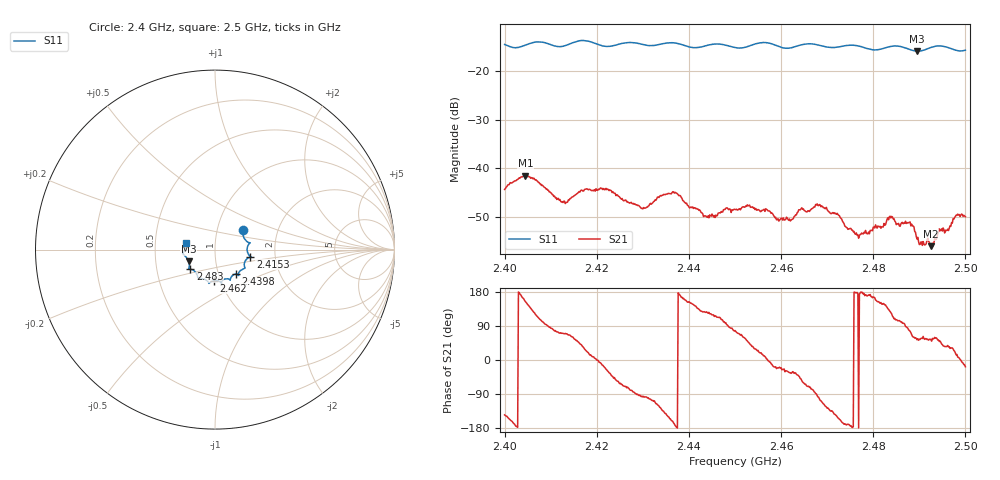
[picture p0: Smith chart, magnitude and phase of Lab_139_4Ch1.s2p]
# Hz S RI R 50
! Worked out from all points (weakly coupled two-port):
!   601 points, 2.4 GHz to 2.5 GHz, reference 50 ohm
!   highest |S21| = -41.51 dB at 2.4045 GHz (marker M1); lowest = -56.0 dB at 2.4925 GHz (marker M2)
!   lowest |S11| = -15.9 dB at 2.4895 GHz (marker M3), VSWR 1.38, Z = 37 - j4.98 ohm
!   |S11| at or under -10 dB: start of sweep to end of sweep
!   S12 and S22 are empty: the file has one direction only
!   S11 on the Smith chart (normalised r, x): 2.4 GHz: 1.33, +0.29; 2.4153 GHz: 1.48, -0.12; 2.4398 GHz: 1.21, -0.34; 2.462 GHz: 0.93, -0.33; 2.483 GHz: 0.74, -0.17; 2.5 GHz: 0.72, +0.06
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2.4e9  0.155 0.1067  -0.00498 -0.00351  0 0  0 0
2.4045e9  0.1797 0.0436  -0.00758 0.00364  0 0  0 0
2.412667e9  0.1799 -0.0103  0.00151 0.00421  0 0  0 0
2.415333e9  0.1965 -0.0388  0.00313 0.00434  0 0  0 0
2.416667e9  0.2021 -0.0429  0.00458 0.00387  0 0  0 0
2.4225e9  0.165 -0.0702  0.00523 -0.00312  0 0  0 0
2.430167e9  0.1513 -0.1105  -0.000405 -0.00395  0 0  0 0
2.433333e9  0.1309 -0.1337  -0.00251 -0.00441  0 0  0 0
2.437e9  0.132 -0.1434  -0.00564 -0.000726  0 0  0 0
2.439833e9  0.1152 -0.1364  -0.00368 0.00192  0 0  0 0
2.443833e9  0.0863 -0.1619  -0.00192 0.00254  0 0  0 0
2.45e9  0.0647 -0.1626  0.000806 0.00371  0 0  0 0
2.462e9  -0.00523 -0.1733  0.00241 -0.0016  0 0  0 0
2.466667e9  -0.0342 -0.1877  0.000872 -0.00377  0 0  0 0
2.472167e9  -0.0715 -0.1611  -0.003 -0.00175  0 0  0 0
2.4765e9  -0.0951 -0.1559  -0.00206 6.37e-05  0 0  0 0
2.483e9  -0.1378 -0.1095  -0.00228 0.00196  0 0  0 0
2.483333e9  -0.1401 -0.1094  -0.00206 0.00215  0 0  0 0
2.488167e9  -0.1426 -0.0841  0.000794 0.00245  0 0  0 0
2.4895e9  -0.1463 -0.0657  0.00112 0.00151  0 0  0 0
2.4925e9  -0.1725 -0.0306  0.000938 0.00129  0 0  0 0
2.5e9  -0.1597 0.0391  0.00304 -0.000979  0 0  0 0
